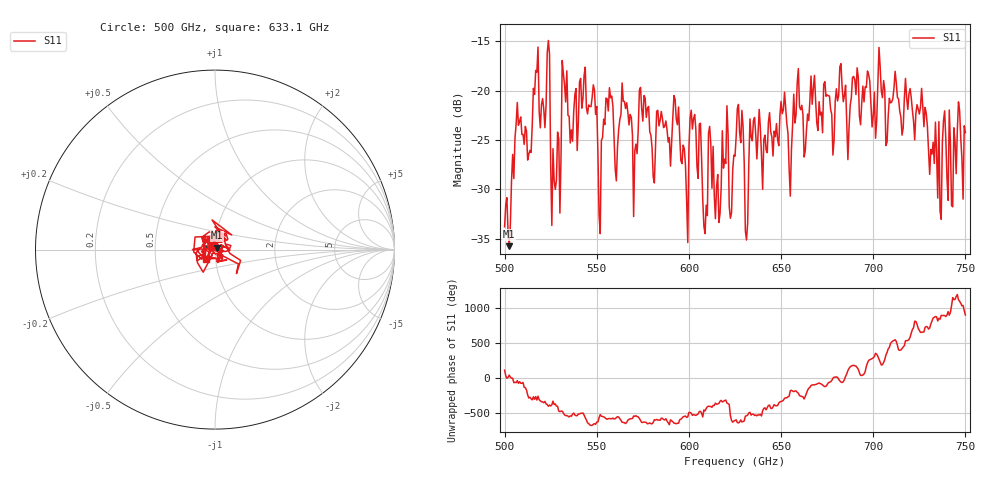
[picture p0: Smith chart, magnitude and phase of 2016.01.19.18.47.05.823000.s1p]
!Created with skrf (http://scikit-rf.org).
# GHz S RI R 50.0
!freq ReS11 ImS11
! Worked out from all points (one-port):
!   401 points, 500 GHz to 750 GHz, reference 50 ohm
!   lowest |S11| = -35.8 dB at 502.5 GHz (marker M1), VSWR 1.03, Z = 51.3 + j1.01 ohm
!   |S11| at or under -10 dB: start of sweep to end of sweep
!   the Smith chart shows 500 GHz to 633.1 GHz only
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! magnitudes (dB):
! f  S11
! 500 GHz  -33.8
! 502.5 GHz  -35.8
! 506.9 GHz  -21.2
! 513.8 GHz  -26.1
! 516.9 GHz  -18.0
! 523.1 GHz  -16.2
! 526.9 GHz  -29.1
! 531.2 GHz  -16.9
! 548.8 GHz  -19.9
! 551.9 GHz  -34.5
! 556.2 GHz  -22.1
! 562.5 GHz  -22.9
! 570.6 GHz  -26.1
! 593.8 GHz  -23.5
! 598.8 GHz  -31.1
! 602.5 GHz  -22.8
! 608.8 GHz  -34.5
! 611.9 GHz  -25.4
! 615.6 GHz  -28.5
! 625 GHz  -26.6
! 628.1 GHz  -25.3
! 631.2 GHz  -35.1
! 634.4 GHz  -25.1
! 656.2 GHz  -23.5
! 687.5 GHz  -21.5
! 718.8 GHz  -21.9
! 735.6 GHz  -23.1
! 750 GHz  -24.3
